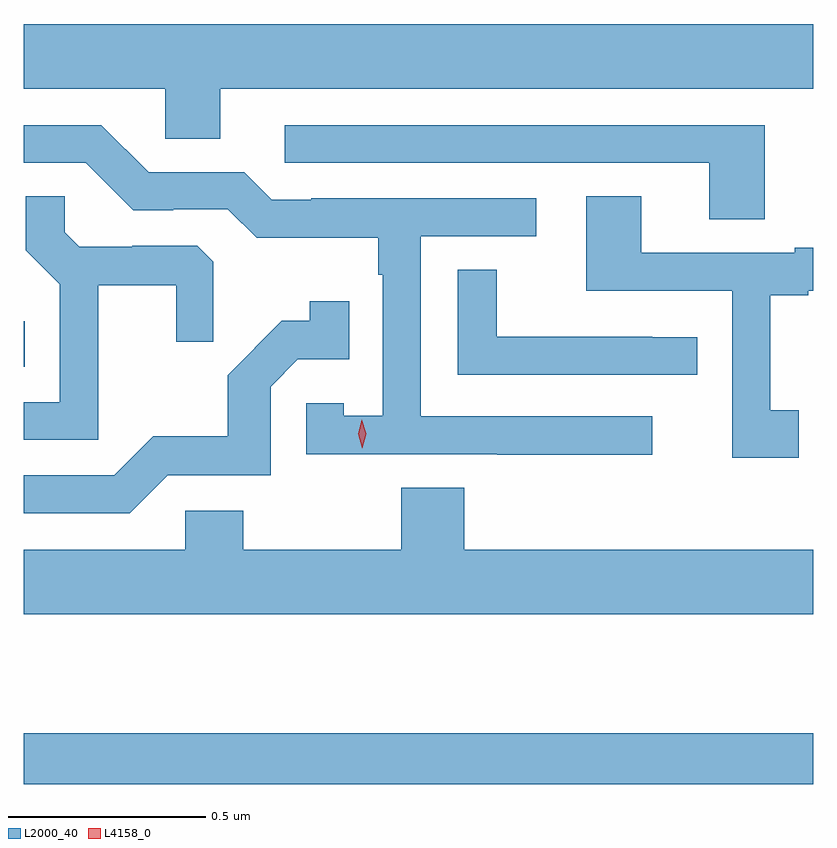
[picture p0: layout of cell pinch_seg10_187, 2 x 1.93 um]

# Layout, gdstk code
import gdstk
lib = gdstk.Library(unit=1e-6, precision=1e-09)
def R(c, l, rs):  # rectangles x0, y0, x1, y1
    for r in rs: c.add(gdstk.rectangle(r[:2], r[2:], *l))
def P(c, l, *ps):  # polygons
    for p in ps: c.add(gdstk.Polygon(p, *l))
L2000_40 = (2000, 40)
L4158_0 = (4158, 0)

pinch_seg10_187 = lib.new_cell('pinch_seg10_187')
R(pinch_seg10_187, L2000_40, [(735.914,1269.25,737.914,1269.379), (735.914,1270.307,735.916,1270.423)])
P(pinch_seg10_187, L2000_40, [(736.411,1271.012),(737.914,1271.012),(737.914,1271.176),(735.914,1271.176),(735.914,1271.012),(736.272,1271.012),(736.272,1270.885),(736.411,1270.885)],
  [(737.506,1270.182),(736.92,1270.182),(736.92,1270.638),(737.212,1270.638),(737.212,1270.734),(736.642,1270.734),(736.642,1270.731),(736.542,1270.731),(736.473,1270.8),(736.23,1270.8),(736.11,1270.92),(735.914,1270.92),(735.914,1270.824),(736.071,1270.824),(736.191,1270.704),(736.292,1270.704),(736.292,1270.707),(736.431,1270.707),(736.504,1270.634),(736.812,1270.634),(736.812,1270.541),(736.824,1270.541),(736.824,1270.183),(736.725,1270.183),(736.725,1270.215),(736.629,1270.215),(736.629,1270.086),(737.113,1270.086),(737.113,1270.084),(737.506,1270.084)],
  [(737.791,1270.92),(736.575,1270.92),(736.575,1270.824),(737.651,1270.824),(737.651,1270.681),(737.791,1270.681)],
  [(737.878,1270.197),(737.806,1270.197),(737.806,1270.488),(737.902,1270.488),(737.902,1270.5),(737.914,1270.5),(737.914,1270.609),(737.867,1270.609),(737.867,1270.596),(737.479,1270.596),(737.479,1270.739),(737.339,1270.739),(737.339,1270.5),(737.709,1270.5),(737.709,1270.077),(737.878,1270.077)],
  [(736.103,1270.514),(736.3,1270.514),(736.3,1270.371),(736.394,1270.371),(736.394,1270.573),(736.353,1270.614),(736.188,1270.614),(736.188,1270.611),(736.054,1270.611),(736.017,1270.648),(736.017,1270.739),(735.919,1270.739),(735.919,1270.603),(736.005,1270.517),(736.005,1270.218),(735.914,1270.218),(735.914,1270.122),(736.103,1270.122)],
  [(737.62,1270.382),(737.507,1270.382),(737.507,1270.383),(737.112,1270.383),(737.112,1270.553),(737.013,1270.553),(737.013,1270.287),(737.62,1270.287)],
  [(736.278,1270.032),(736.539,1270.032),(736.539,1270.257),(736.608,1270.326),(736.739,1270.326),(736.739,1270.474),(736.638,1270.474),(736.638,1270.424),(736.568,1270.424),(736.431,1270.286),(736.431,1270.131),(736.242,1270.131),(736.143,1270.032),(735.914,1270.032),(735.914,1269.936),(736.182,1269.936)],
  [(737.914,1269.844),(737.03,1269.844),(737.03,1270.001),(736.87,1270.001),(736.87,1269.844),(736.47,1269.844),(736.47,1269.942),(736.323,1269.942),(736.323,1269.844),(735.914,1269.844),(735.914,1269.68),(737.914,1269.68)])
P(pinch_seg10_187, L4158_0, [(736.771,1270.101),(736.771,1270.101),(736.761,1270.137),(736.77,1270.173),(736.77,1270.173),(736.77,1270.173),(736.781,1270.137),(736.771,1270.101)])

lib.write_gds('pinch_seg10_187.gds')
